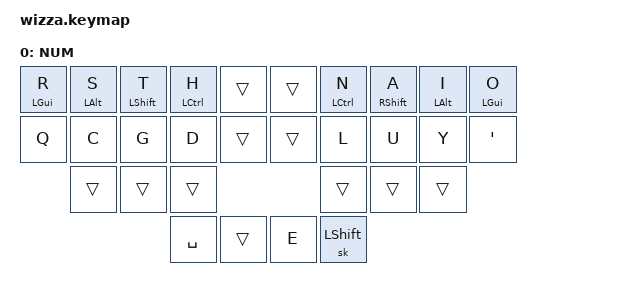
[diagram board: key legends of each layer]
// version 1.19 (used to refresh Keymap Drawer)

#include <behaviors.dtsi>
#include <dt-bindings/zmk/keys.h>
#include <dt-bindings/zmk/bt.h>
#include <dt-bindings/zmk/ext_power.h>
#include <dt-bindings/zmk/outputs.h>

#include "../zmk-nodefree-config/helper.h"
#include "../zmk-nodefree-config/keypos_def/keypos_36keys.h"

#define NUM 0

#define xxxxxx &none
#define ______ &trans

#include "combos.dtsi"

#define QUICK_TAP_MS 175

&sk {
  release-after-ms = <900>;  // release after 0.6s
  quick-release;
};

/* Homerow mods */
#define KEYS_L LT0 LT1 LT2 LT3 LT4 LM0 LM1 LM2 LM3 LM4 LB0 LB1 LB2  // left hand
#define KEYS_R RT0 RT1 RT2 RT3 RT4 RM0 RM1 RM2 RM3 RM4 RB0 RB1 RB2  // right hand
#define THUMBS LH1 LH0 RH0 RH1                                      // thumbs

#define MAKE_HRM(NAME, HOLD, TAP, TRIGGER_POS) \
    ZMK_BEHAVIOR(NAME, hold_tap, \
        flavor = "balanced"; \
        tapping-term-ms = <280>; \
        quick-tap-ms = <QUICK_TAP_MS>; \
        require-prior-idle-ms = <150>; \
        bindings = <HOLD>, <TAP>; \
        hold-trigger-key-positions = <TRIGGER_POS>; \
        hold-trigger-on-release; \
    )
MAKE_HRM(hml, &kp, &kp, KEYS_R THUMBS)  // left-hand HRMs
MAKE_HRM(hmr, &kp, &kp, KEYS_L THUMBS)  // right-hand HRMs

keymap {
    compatible = "zmk,keymap";

    num_layer {
        label = "NUM";
        bindings = <         
            &hml LGUI R     &hml LALT S     &hml LSHFT T    &hml LCTRL H    ______          ______          &hmr LCTRL N    &hmr RSHFT A    &hmr LALT I     &hmr LGUI O
            &kp Q           &kp C           &kp G           &kp D           ______          ______          &kp L           &kp U           &kp Y           &kp SQT
                            ______          ______          ______                                          ______          ______          ______
                                                            &kp SPACE       ______          &kp E           &sk LSHFT
        >;
    };
};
